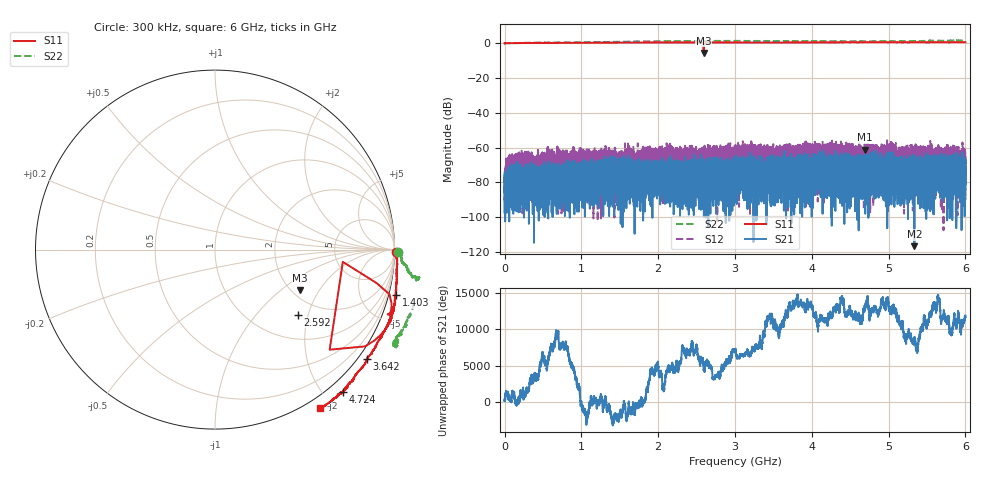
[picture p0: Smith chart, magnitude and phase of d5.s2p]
!Agilent Technologies,N5230C,SG49000117,A.08.50.07
!Agilent N5230C: A.08.50.07
!Date: Thursday, May 16, 2024 17:40:50
!Correction: S11(Full 2 Port(1,2))
!S21(Full 2 Port(1,2))
!S12(Full 2 Port(1,2))
!S22(Full 2 Port(1,2))
!S2P File: Measurements: S11, S21, S12, S22:
# Hz S  MA  R 50
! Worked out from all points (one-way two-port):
!   20001 points, 300 kHz to 6 GHz, reference 50 ohm
!   highest |S21| = -61.18 dB at 4.697 GHz (marker M1); lowest = -116.6 dB at 5.336 GHz (marker M2)
!   lowest |S11| = -5.6 dB at 2.592 GHz (marker M3), VSWR 3.21, Z = 111 - j69.1 ohm
!   |S11| at or under -10 dB: nowhere
!   |S22| runs from -0.3 to 1.6 dB; largest |S21 - S12| = 0.002
!   S11 on the Smith chart (normalised r, x): 300 kHz: open; 1.403 GHz: -1.26, -7.95; 2.592 GHz: 1.56, -1.72; 3.642 GHz: -0.23, -3.09; 4.724 GHz: -0.19, -2.24; 6 GHz: -0.13, -1.85
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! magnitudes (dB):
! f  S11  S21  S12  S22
! 300 kHz  0.1  -74.2  -76.4  0.2
! 32.4 MHz  0.0  -81.8  -73.3  0.0
! 252 MHz  0.1  -100.2  -65.7  0.2
! 1 GHz  0.2  -69.0  -68.5  0.5
! 1.101 GHz  0.3  -73.1  -77.8  0.5
! 1.403 GHz  0.3  -70.0  -67.0  0.7
! 2 GHz  0.4  -77.6  -65.8  1.1
! 2.136 GHz  0.4  -78.5  -78.9  1.2
! 2.592 GHz  -4.6  -78.4  -78.8  1.3
! 2.592 GHz  -5.6  -71.8  -64.6  1.3
! 3 GHz  0.4  -71.1  -80.4  1.3
! 3.319 GHz  0.4  -68.7  -67.6  1.3
! 3.385 GHz  0.4  -78.5  -67.3  1.3
! 3.642 GHz  0.4  -70.1  -65.1  1.2
! 4 GHz  0.4  -71.9  -74.8  1.2
! 4.145 GHz  0.5  -70.8  -72.0  1.1
! 4.697 GHz  0.5  -61.2  -64.5  1.1
! 4.724 GHz  0.6  -66.0  -67.7  1.0
! 5 GHz  0.5  -74.9  -67.6  1.1
! 5.253 GHz  0.5  -71.3  -74.7  1.2
! 5.336 GHz  0.5  -116.6  -67.9  1.2
! 6 GHz  0.5  -72.9  -67.4  1.5
